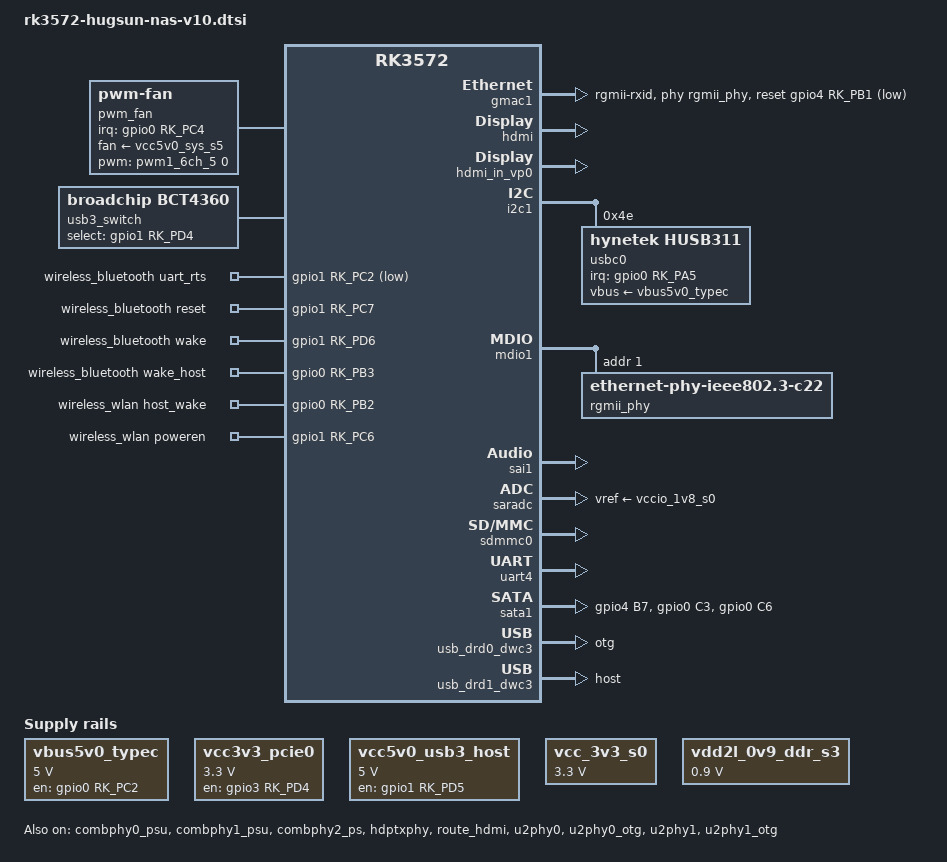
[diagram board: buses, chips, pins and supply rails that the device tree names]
// SPDX-License-Identifier: (GPL-2.0+ OR MIT)
/*
 * Copyright (c) 2025 Rockchip Electronics Co., Ltd.
 */

#include <dt-bindings/usb/pd.h>
#include "rk3572.dtsi"
#include "rk3572-hugsun.dtsi"
#include "rk3572-rk806.dtsi"

/ {
	pwm_fan: pwm-fan {
		compatible = "pwm-fan";
		pwms = <&pwm1_6ch_5 0 40000 PWM_POLARITY_INVERTED>;
		#cooling-cells = <2>;
		cooling-levels = <0 120 150 180 210 240 255>;
		fan-supply = <&vcc5v0_sys_s5>;
		pinctrl-names = "default";
		pinctrl-0 = <&fan_tach>;	
		interrupt-parent = <&gpio0>;
		interrupts = <RK_PC4 IRQ_TYPE_EDGE_RISING>;
		pulses-per-revolution = <4>;
	};	

	/*
	buzzer: pwm-beeper {
		compatible = "pwm-beeper";
		amp-supply = <&vcc5v0_sys_s5>;
		beeper-hz = <500>;
		pwms = <&pwm8 0 500000 0>;
	};
	*/	

	usb3_switch: usb3-switch {
		compatible = "broadchip,bct4360", "gpio-sbu-mux";
		select-gpios = <&gpio1 RK_PD4 GPIO_ACTIVE_HIGH>;
		pinctrl-names = "default";
		pinctrl-0 = <&usb3_switch_default>;
		orientation-switch;
	};

	vbus5v0_typec: vbus5v0-typec {
		compatible = "regulator-fixed";
		regulator-name = "vbus5v0_typec";
		regulator-min-microvolt = <5000000>;
		regulator-max-microvolt = <5000000>;
		enable-active-high;
		gpio = <&gpio0 RK_PC2 GPIO_ACTIVE_HIGH>;
		pinctrl-names = "default";
		pinctrl-0 = <&usb_drd0_pwren>;
	};

	vcc3v3_pcie0: vcc3v3-pcie0 {
		compatible = "regulator-fixed";
		regulator-name = "vcc3v3_pcie0";
		enable-active-high;
		regulator-min-microvolt = <3300000>;
		regulator-max-microvolt = <3300000>;
		gpio = <&gpio3 RK_PD4 GPIO_ACTIVE_HIGH>;
	};

	vcc5v0_usb3_host: vcc5v0-usb3-host {
		compatible = "regulator-fixed";
		regulator-name = "vcc5v0_usb3_host";
		regulator-boot-on;
		regulator-always-on;
		regulator-min-microvolt = <5000000>;
		regulator-max-microvolt = <5000000>;
		enable-active-high;
		gpio = <&gpio1 RK_PD5 GPIO_ACTIVE_HIGH>;
		pinctrl-names = "default";
		pinctrl-0 = <&usb_drd1_pwren>;
	};

	vcc_3v3_s0: vcc-3v3-s0 {
		compatible = "regulator-fixed";
		regulator-name = "vcc_3v3_s0";
		regulator-boot-on;
		regulator-always-on;
		regulator-min-microvolt = <3300000>;
		regulator-max-microvolt = <3300000>;
	};

	vdd2l_0v9_ddr_s3: vdd2l-0v9-ddr-s3 {
		compatible = "regulator-fixed";
		regulator-name = "vdd2l_0v9_ddr_s3";
		regulator-boot-on;
		regulator-always-on;
		regulator-min-microvolt = <900000>;
		regulator-max-microvolt = <900000>;
	};

	wireless_bluetooth: wireless-bluetooth {
		compatible = "bluetooth-platdata";
		bt_port = "/dev/ttyS4";
		uart_rts-gpios = <&gpio1 RK_PC2 GPIO_ACTIVE_LOW>;
		pinctrl-names = "default", "rts_gpio";
		pinctrl-0 = <&uart4m1_rtsn_pins>;
		pinctrl-1 = <&uart4_gpios>;
		BT,reset-gpios    = <&gpio1 RK_PC7 GPIO_ACTIVE_HIGH>;
		BT,wake-gpios     = <&gpio1 RK_PD6 GPIO_ACTIVE_HIGH>;
		BT,wake_host-gpios = <&gpio0 RK_PB3 GPIO_ACTIVE_HIGH>;
		status = "okay";
	};

	wireless_wlan: wireless-wlan {
		compatible = "wlan-platdata";
		wifi_chip_type = "ap6275p";
		pinctrl-names = "default";
		pinctrl-0 = <&wifi_host_wake_irq>;
		WIFI,host_wake-gpios = <&gpio0 RK_PB2 GPIO_ACTIVE_HIGH>;
		WIFI,poweren-gpios = <&gpio1 RK_PC6 GPIO_ACTIVE_HIGH>;
		status = "okay";
	};
};

&combphy0_psu {
	status = "okay";
};

&combphy1_psu {
	status = "okay";
};

&combphy2_ps {
	status = "okay";
};

&gmac1 {
	/* Use rgmii-rxid mode to disable rx delay inside Soc */
	phy-mode = "rgmii-rxid";
	clock_in_out = "output";

	snps,reset-gpio = <&gpio4 RK_PB1 GPIO_ACTIVE_LOW>;
	snps,reset-active-low;
	/* Reset time is 20ms, 100ms for rtl8211f */
	snps,reset-delays-us = <0 20000 100000>;

	pinctrl-names = "default";
	pinctrl-0 = <&eth1m0_miim_pins
		     &eth1m0_tx_bus2_pins
		     &eth1m0_rx_bus2_pins
		     &eth1m0_rgmii_clk_pins
		     &eth1m0_rgmii_bus_pins
		     &ethm0_clk1_25m_out_pins>;

	tx_delay = <0x20>;
	/* rx_delay = <0x3f>; */

	phy-handle = <&rgmii_phy>;
	status = "okay";
};

&hdmi {
	status = "okay";
	rockchip,sda-falling-delay-ns = <360>;
	pinctrl-names = "default";
	pinctrl-0 = <&hdmi_txm0_cec_pins &hdmi_txm0_ddc_pins &hdmi_txm1_hpdin_pins>;
};

&hdmi_in_vp0 {
	status = "okay";
};

&hdptxphy {
	status = "okay";
};

&i2c1 {
	status = "okay";

	usbc0: husb311@4e {
		compatible = "hynetek,husb311";
		reg = <0x4e>;
		interrupt-parent = <&gpio0>;
		interrupts = <RK_PA5 IRQ_TYPE_LEVEL_LOW>;
		pinctrl-names = "default";
		pinctrl-0 = <&usbc0_int>;
		vbus-supply = <&vbus5v0_typec>;
		status = "okay";

		usb_con0: connector {
			compatible = "usb-c-connector";
			label = "USB-C";
			data-role = "dual";
			power-role = "dual";
			try-power-role = "sink";
			op-sink-microwatt = <1000000>;
			orientation-switch = <&usb3_switch &u2phy0>;
			usb-role-switch = <&usb_drd0_dwc3>;

			sink-pdos = <PDO_FIXED(5000, 1000, PDO_FIXED_DATA_SWAP | PDO_FIXED_USB_COMM | PDO_FIXED_EXTPOWER | PDO_FIXED_DUAL_ROLE)>;
			source-pdos = <PDO_FIXED(5000, 3000, PDO_FIXED_DATA_SWAP | PDO_FIXED_USB_COMM | PDO_FIXED_EXTPOWER | PDO_FIXED_DUAL_ROLE)>;
		};
	};
};

&leds {
	status = "okay";
};

&mdio1 {
	rgmii_phy: phy@1 {
		compatible = "ethernet-phy-ieee802.3-c22";
		reg = <0x1>;
		clocks = <&cru REFCLKO25M_GMAC1_OUT>;
	};
};

&pcie0 {
	phys = <&combphy1_psu PHY_TYPE_PCIE>;
	reset-gpios = <&gpio4 RK_PB7 GPIO_ACTIVE_HIGH>;
	vpcie3v3-supply = <&vcc3v3_pcie0>;

	/*
	 * Disable usb_drd1_dwc3 or change it to usb2.0 if enabling pcie0 and
	 * set U1800 and U1801 to high state according to the schematic of page 18.
	 */
	status = "disabled";
};

&pinctrl {

	sata {
		satapm_pwren: satapm-pwren {
			rockchip,pins = <4 RK_PB7 RK_FUNC_GPIO &pcfg_output_high>;
		};

		sata0_pwren: sata0-pwren {
			rockchip,pins = <0 RK_PC3 RK_FUNC_GPIO &pcfg_output_high>;
		};

		sata1_pwren: sata1-pwren {
			rockchip,pins = <0 RK_PC6 RK_FUNC_GPIO &pcfg_output_high>;
		};
	};

	usb {
		usb3_switch_default: usb3-switch-default {
			rockchip,pins = <1 RK_PD4 RK_FUNC_GPIO &pcfg_pull_none>;
		};

		usb_drd0_pwren: usb-drd0-pwren {
			rockchip,pins = <0 RK_PC2 RK_FUNC_GPIO &pcfg_pull_none>;
		};

		usb_drd1_pwren: usb-drd1-pwren {
			rockchip,pins = <1 RK_PD5 RK_FUNC_GPIO &pcfg_pull_none>;
		};

		usbc0_int: usbc0-int {
			rockchip,pins = <0 RK_PA5 RK_FUNC_GPIO &pcfg_pull_up>;
		};
	};

	wireless-bluetooth {
		uart4_gpios: uart4-gpios {
			rockchip,pins = <1 RK_PC2 RK_FUNC_GPIO &pcfg_pull_none>;
		};
	};

	wireless-wlan {
		wifi_host_wake_irq: wifi-host-wake-irq {
			rockchip,pins = <0 RK_PB2 RK_FUNC_GPIO &pcfg_pull_down>;
		};

	};

	pwn_fan {
		fan_tach:fan-tach{
			rockchip,pins = <0 RK_PC4 RK_FUNC_GPIO &pcfg_pull_down>;
		};
	};	
};

&pwm1_6ch_5 {
	pinctrl-0 = <&pwm1m0_ch5_pins>;
	status = "disabled";
};

&route_hdmi {
	status = "okay";
	connect = <&vp0_out_hdmi>;
};

&sai1 {
	status = "okay";
	pinctrl-names = "default";
	pinctrl-0 = <&sai1m0_lrck_pins
		     &sai1m0_sclk_pins
		     &sai1m0_sdi0_pins
		     &sai1m0_sdi1_pins
		     &sai1m0_sdi2_pins
		     &sai1m0_sdo0_pins>;
};

&saradc {
	status = "okay";
	vref-supply = <&vccio_1v8_s0>;
};

&sdmmc0 {
	status = "okay";
};

&uart4 {
	status = "okay";
};

&sata1 {
	status = "okay";
	pinctrl-names = "default";
	pinctrl-0 = <&satapm_pwren
				&sata0_pwren
				&sata1_pwren>;
};

&u2phy0 {
	orientation-switch;
	status = "okay";
};

&u2phy0_otg {
	rockchip,typec-vbus-det;
	status = "okay";
};

&u2phy1 {
	status = "okay";
};

&u2phy1_otg {
	phy-supply = <&vcc5v0_usb3_host>;
	status = "okay";
};

&usb_drd0_dwc3 {
	dr_mode = "otg";
	usb-role-switch;
	status = "okay";
};

&usb_drd1_dwc3 {
	dr_mode = "host";
	status = "okay";
};
